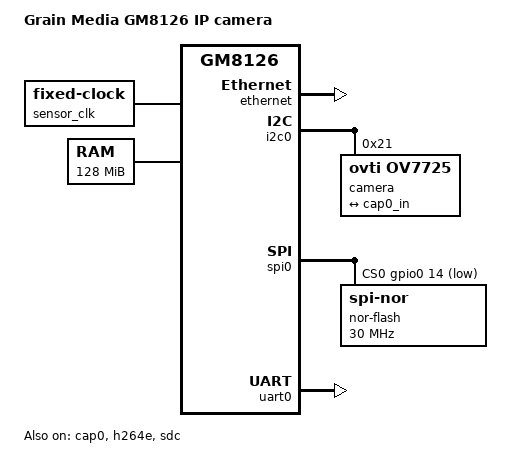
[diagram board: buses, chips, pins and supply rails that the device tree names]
// SPDX-License-Identifier: GPL-2.0-only OR MIT
/dts-v1/;

#include "gm8126.dtsi"

/ {
	model = "Grain Media GM8126 IP camera";
	compatible = "grainmedia,gm8126-ipcam", "grainmedia,gm8126";

	aliases {
		serial0 = &uart0;
		ethernet0 = &ethernet;
	};

	chosen {
		stdout-path = "serial0:115200n8";
	};

	/* assumed: the PMU's divider for it is not driven here */
	sensor_clk: clock-sensor {
		compatible = "fixed-clock";
		#clock-cells = <0>;
		clock-frequency = <24000000>;
	};

	memory@0 {
		device_type = "memory";
		reg = <0x00000000 0x08000000>;
	};
};

&ethernet {
	status = "okay";
};

&cap0 {
	status = "okay";

	port {
		cap0_in: endpoint {
			remote-endpoint = <&sensor_out>;
			bus-width = <8>;
		};
	};
};

&h264e {
	status = "okay";
};

&i2c0 {
	status = "okay";

	camera@21 {
		compatible = "ovti,ov7725";
		reg = <0x21>;
		clocks = <&sensor_clk>;

		port {
			sensor_out: endpoint {
				remote-endpoint = <&cap0_in>;
				bus-type = <5>;	/* parallel */
				bus-width = <8>;
			};
		};
	};
};

&sdc {
	bus-width = <4>;
	cd-inverted;		/* a micro-SD slot */
	broken-cd;		/* a change is polled for */
	disable-wp;
	status = "okay";
};

&spi0 {
	cs-gpios = <&gpio0 14 GPIO_ACTIVE_LOW>;
	status = "okay";

	flash@0 {
		compatible = "jedec,spi-nor";
		reg = <0>;
		spi-max-frequency = <30000000>;
		label = "nor-flash";
	};
};

&uart0 {
	status = "okay";
};
